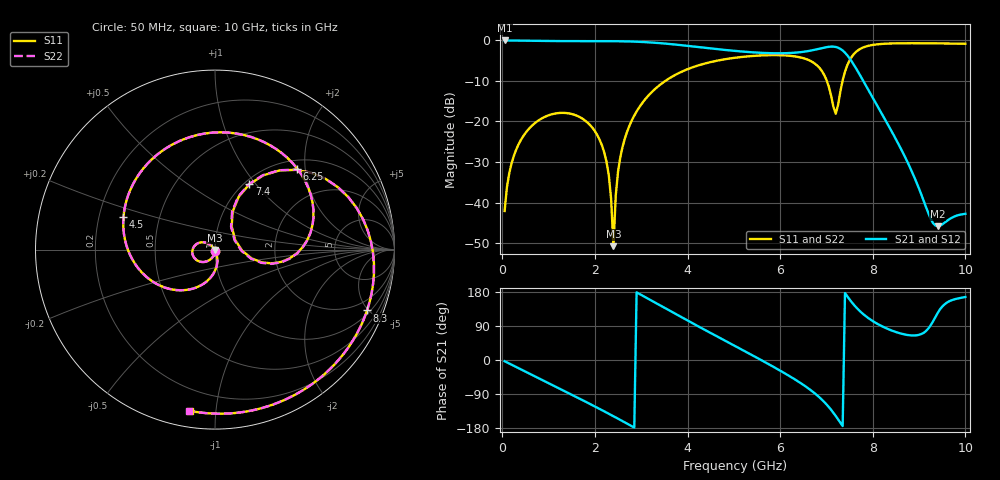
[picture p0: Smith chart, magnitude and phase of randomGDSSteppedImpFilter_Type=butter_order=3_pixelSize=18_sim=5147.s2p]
! freq	dB(S11)	phase(S11)	dB(S12)	phase(S12)
!  dB(S21)	phase(S21)	dB(S22)	phase(S22)
!S-par simulation data
#  GHz  S  DB  R 50
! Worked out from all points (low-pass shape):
!   200 points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, 50 MHz to 10 GHz, reference 50 ohm
!   highest |S21| = -0.01 dB at 50 MHz (marker M1); lowest = -45.9 dB at 9.4 GHz (marker M2)
!   |S21| within 3 dB of the highest: start of sweep to 5.504 GHz; 6.341 GHz to 7.399 GHz (1.057 GHz wide, 15.4 % of centre)
!   lowest |S11| = -50.8 dB at 2.4 GHz (marker M3), VSWR 1.01, Z = 49.7 - j0.141 ohm
!   |S11| at or under -10 dB: start of sweep to 3.519 GHz; 7.008 GHz to 7.347 GHz (339.1 MHz wide, 4.72 % of centre)
!   |S22| runs from -53.6 to -0.7 dB; largest |S21 - S12| = 0
!   S11 on the Smith chart (normalised r, x): 50 MHz: 1.00, -0.02; 4.5 GHz: 0.31, +0.16; 6.25 GHz: 1.18, +1.81; 7.4 GHz: 1.06, +0.93; 8.3 GHz: 1.21, -4.91; 10 GHz: 0.08, -0.86
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0.05  -42.09 -90.9  -0.01 -3.1  -0.01 -3.1  -42.09 -90.8
0.2  -30.34 -101.7  -0.03 -12.3  -0.03 -12.3  -30.34 -101.8
0.55  -22.13 -124.0  -0.07 -33.7  -0.07 -33.7  -22.13 -124.1
1.15  -18.02 -160.7  -0.16 -70.2  -0.16 -70.2  -18.02 -160.9
1.75  -19.46 162.9  -0.18 -107.0  -0.18 -107.0  -19.46 162.5
2.25  -29.91 134.2  -0.18 -138.6  -0.18 -138.6  -29.92 132.5
2.35  -39.12 136.2  -0.18 -145.1  -0.18 -145.1  -39.24 131.1
2.4  -50.78 -150.8  -0.18 -148.4  -0.18 -148.4  -53.59 -157.5
2.45  -38.24 -73.6  -0.19 -151.6  -0.19 -151.6  -38.35 -69.1
2.6  -26.11 -75.3  -0.21 -161.5  -0.21 -161.5  -26.12 -74.2
3.4  -11.00 -126.8  -0.66 144.5  -0.66 144.5  -11.00 -126.6
4.5  -5.34 160.6  -1.97 71.2  -1.97 71.2  -5.34 160.6
5.05  -4.24 125.0  -2.61 35.4  -2.61 35.4  -4.24 125.0
6.25  -3.84 44.6  -3.08 -46.0  -3.08 -46.0  -3.84 44.5
6.7  -5.35 10.1  -2.42 -83.3  -2.42 -83.3  -5.35 9.9
7.2  -18.10 25.7  -1.61 -147.6  -1.61 -147.6  -18.36 25.6
7.4  -7.72 62.3  -3.02 176.7  -3.02 176.7  -7.75 62.7
7.8  -1.70 16.4  -10.09 120.4  -10.09 120.4  -1.70 16.5
8.3  -0.79 -21.8  -20.23 83.2  -20.23 83.2  -0.80 -21.9
8.35  -0.77 -24.8  -21.25 80.6  -21.25 80.6  -0.77 -24.9
9.4  -0.72 -75.4  -45.87 123.6  -45.87 123.6  -0.73 -75.7
10  -0.82 -98.7  -42.79 166.3  -42.79 166.3  -0.83 -99.1
